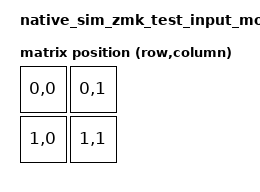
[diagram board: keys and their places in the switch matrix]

#include <../boards/native/native_sim/native_sim.dts>
#include <dt-bindings/zmk/keys.h>
#include <dt-bindings/zmk/matrix_transform.h>
#include <dt-bindings/zmk/input_mock.h>

/ {
    physical_layout: physical_layout {
        display-name = "Layout";
        compatible = "zmk,physical-layout";
        input = <&mock_input>;
        transform = <&matrix_transform>;
    };

    matrix_transform: keymap_transform {
        compatible = "zmk,matrix-transform";
        columns = <2>;
        rows = <2>;
        map = <
            RC(0,0) RC(0,1)
            RC(1,0) RC(1,1)
        >;
    };

    mock_input: mock_input {
        compatible = "zmk,input-mock";
        event-startup-delay = <100>;
        exit-after;
    };
};
